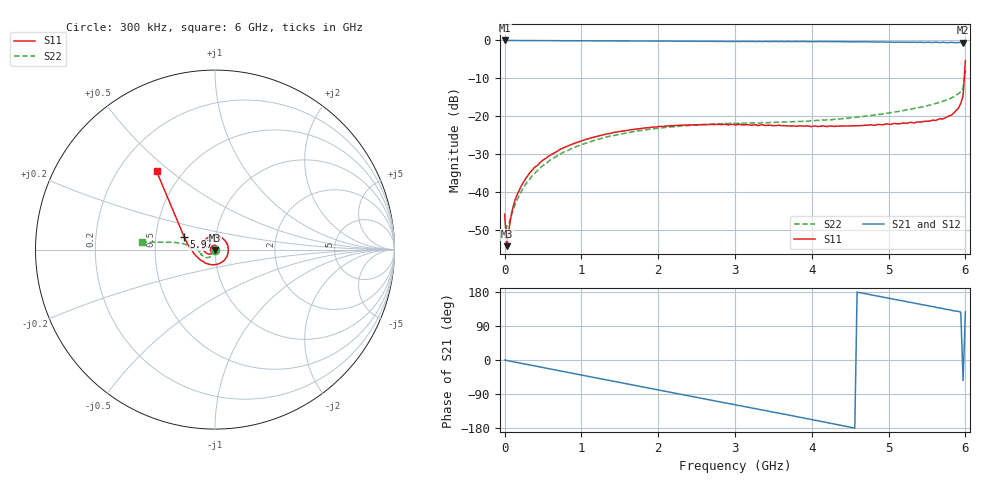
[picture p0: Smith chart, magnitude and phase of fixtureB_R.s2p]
# Hz S RI R 50
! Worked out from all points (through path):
!   201 points, 300 kHz to 6 GHz, reference 50 ohm
!   highest |S21| = 0.00 dB at 300 kHz (marker M1); lowest = -0.6 dB at 5.97 GHz (marker M2)
!   lowest |S11| = -54.2 dB at 30.3 MHz (marker M3), VSWR 1.00, Z = 49.9 - j0.134 ohm
!   |S11| at or under -10 dB: start of sweep to 5.985 GHz
!   |S22| runs from -52.2 to -7.8 dB; largest |S21 - S12| = 6e-16
!   S11 on the Smith chart (normalised r, x): 300 kHz: 0.99, +0.01; 5.97 GHz: 0.70, +0.10; 6 GHz: 0.36, +0.45
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300000  -0.00411 0.00312  1 -0.00232  1 -0.00232  -0.00106 -0.00222
3.02985e7  -0.00142 -0.00135  0.9991 -0.0218  0.9991 -0.0218  -0.00305 -0.00213
6.0297e7  -0.00153 -0.0031  0.998 -0.0427  0.998 -0.0427  -0.00279 -0.00276
9.02955e7  -0.00177 -0.00495  0.9967 -0.064  0.9967 -0.064  -0.00305 -0.00401
1.20294e8  -0.00231 -0.00662  0.9947 -0.0848  0.9947 -0.0848  -0.00331 -0.00525
2.102895e8  -0.00415 -0.011  0.9865 -0.1468  0.9865 -0.1468  -0.00391 -0.00911
3.302835e8  -0.00798 -0.0164  0.9698 -0.2282  0.9698 -0.2282  -0.00531 -0.0141
6.302685e8  -0.0215 -0.0242  0.8992 -0.4218  0.8992 -0.4218  -0.0108 -0.0261
1.020249e9  -0.0427 -0.0224  0.7522 -0.6422  0.7522 -0.6422  -0.0217 -0.0371
1.500225e9  -0.0632 -0.00167  0.5027 -0.8493  0.5027 -0.8493  -0.0381 -0.0439
2.0102e9  -0.0659 0.0327  0.1797 -0.964  0.1797 -0.964  -0.0554 -0.0429
2.490176e9  -0.0453 0.0632  -0.139 -0.9658  -0.139 -0.9658  -0.068 -0.0358
3.00015e9  -0.006 0.0769  -0.4556 -0.8601  -0.4556 -0.8601  -0.0761 -0.0277
3.60012e9  0.0435 0.0617  -0.7604 -0.6047  -0.7604 -0.6047  -0.0833 -0.016
4.020099e9  0.0672 0.0319  -0.8985 -0.3591  -0.8985 -0.3591  -0.087 -0.0108
4.500075e9  0.0731 -0.016  -0.9613 -0.0464  -0.9613 -0.0464  -0.0952 -0.00474
5.01005e9  0.0437 -0.0653  -0.9103 0.2805  -0.9103 0.2805  -0.1111 0.00387
5.700015e9  -0.0626 -0.0679  -0.6824 0.6574  -0.6824 0.6574  -0.1553 0.0235
5.820009e9  -0.0939 -0.0449  -0.623 0.711  -0.623 0.711  -0.1729 0.031
5.940003e9  -0.1474 0.0209  -0.5519 0.7549  -0.5519 0.7549  -0.208 0.0381
5.970002e9  -0.1717 0.0707  0.5437 -0.756  0.5437 -0.756  -0.2326 0.0407
6e9  -0.3257 0.4366  -0.5784 0.7524  -0.5784 0.7524  -0.4062 0.0418
